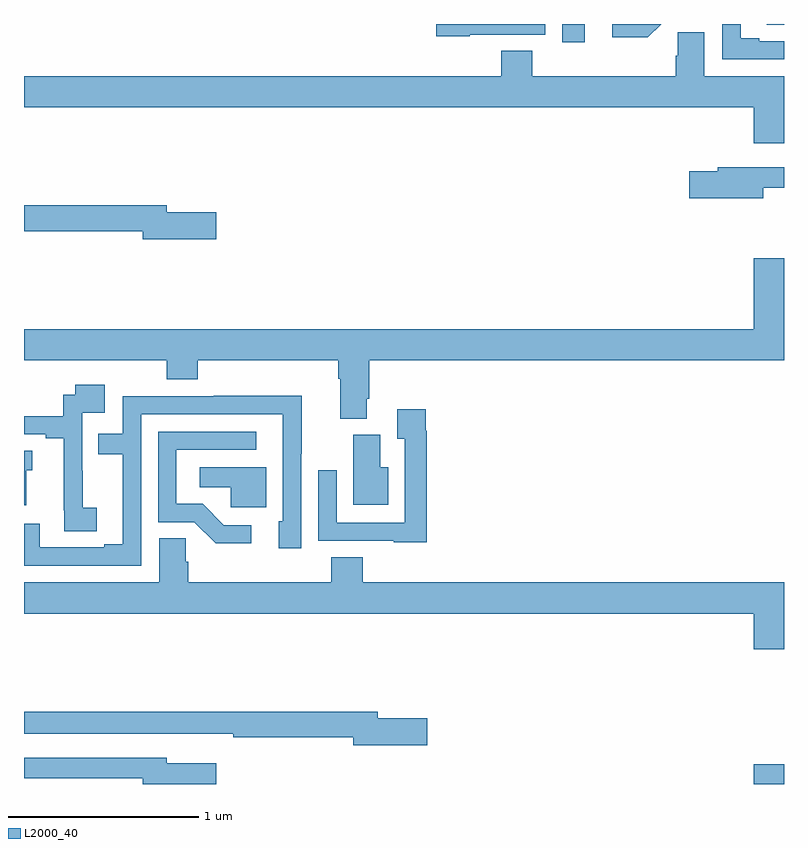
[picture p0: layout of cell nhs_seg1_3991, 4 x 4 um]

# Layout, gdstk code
import gdstk
lib = gdstk.Library(unit=1e-6, precision=1e-09)
def R(c, l, rs):  # rectangles x0, y0, x1, y1
    for r in rs: c.add(gdstk.rectangle(r[:2], r[2:], *l))
def P(c, l, *ps):  # polygons
    for p in ps: c.add(gdstk.Polygon(p, *l))
L2000_40 = (2000, 40)

nhs_seg1_3991 = lib.new_cell('nhs_seg1_3991')
R(nhs_seg1_3991, L2000_40, [(332.84,520.199,333,520.303), (331.833,524.103,331.951,524.199), (332.91,524.194,333,524.199)])
P(nhs_seg1_3991, L2000_40, [(331.347,524.142),(331.743,524.142),(331.743,524.199),(331.171,524.199),(331.171,524.135),(331.347,524.135)],
  [(333,524.109),(332.869,524.109),(332.869,524.124),(332.773,524.124),(332.773,524.199),(332.676,524.199),(332.676,524.013),(333,524.013)],
  [(332.355,524.199),(332.097,524.199),(332.097,524.129),(332.284,524.129)],
  [(333,523.924),(332.581,523.924),(332.581,524.156),(332.442,524.156),(332.442,524.033),(332.429,524.033),(332.429,523.924),(331.676,523.924),(331.676,524.057),(331.511,524.057),(331.511,523.924),(329,523.924),(329,523.76),(332.84,523.76),(332.84,523.572),(333,523.572)],
  [(332.89,523.338),(333,523.338),(333,523.446),(332.651,523.446),(332.651,523.425),(332.502,523.425),(332.502,523.283),(332.89,523.283)],
  [(330.013,523.208),(329.752,523.208),(329.752,523.244),(329,523.244),(329,523.108),(329.624,523.108),(329.624,523.066),(330.013,523.066)],
  [(330.805,522.226),(330.818,522.226),(330.818,522.428),(333,522.428),(333,522.967),(332.84,522.967),(332.84,522.592),(329,522.592),(329,522.428),(329.75,522.428),(329.75,522.329),(329.915,522.329),(329.915,522.428),(330.653,522.428),(330.653,522.332),(330.665,522.332),(330.665,522.121),(330.805,522.121)],
  [(329.383,521.652),(329.309,521.652),(329.309,521.849),(329.307,521.849),(329.307,522.153),(329.425,522.153),(329.425,522.301),(329.269,522.301),(329.269,522.249),(329.206,522.249),(329.206,522.135),(329,522.135),(329,522.039),(329.114,522.039),(329.114,522.019),(329.21,522.019),(329.21,521.641),(329.212,521.641),(329.212,521.53),(329.383,521.53)],
  [(329.616,522.144),(330.363,522.144),(330.363,521.583),(330.341,521.583),(330.341,521.439),(330.459,521.439),(330.459,521.938),(330.461,521.938),(330.461,522.242),(329.998,522.242),(329.998,522.24),(329.52,522.24),(329.52,522.042),(329.392,522.042),(329.392,521.934),(329.519,521.934),(329.519,521.46),(329.423,521.46),(329.423,521.445),(329.082,521.445),(329.082,521.568),(329,521.568),(329,521.349),(329.616,521.349)],
  [(331.121,522.059),(331.114,522.059),(331.114,522.172),(330.965,522.172),(330.965,522.016),(331.005,522.016),(331.005,521.574),(330.645,521.574),(330.645,521.851),(330.549,521.851),(330.549,521.478),(330.945,521.478),(330.945,521.471),(331.121,521.471)],
  [(330.196,521.562),(330.051,521.562),(329.94,521.673),(329.802,521.673),(329.802,521.958),(330.223,521.958),(330.223,522.054),(329.706,522.054),(329.706,521.577),(329.895,521.577),(330.008,521.465),(330.196,521.465)],
  [(330.916,521.866),(330.874,521.866),(330.874,522.036),(330.734,522.036),(330.734,521.669),(330.916,521.669)],
  [(329.011,521.851),(329.044,521.851),(329.044,521.954),(329,521.954),(329,521.667),(329.011,521.667)],
  [(330.274,521.866),(329.925,521.866),(329.925,521.762),(330.087,521.762),(330.087,521.655),(330.274,521.655)],
  [(333,521.26),(330.782,521.26),(330.782,521.393),(330.617,521.393),(330.617,521.26),(329.864,521.26),(329.864,521.369),(329.85,521.369),(329.85,521.492),(329.711,521.492),(329.711,521.26),(329,521.26),(329,521.096),(332.84,521.096),(332.84,520.908),(333,520.908)],
  [(331.123,520.544),(330.862,520.544),(330.862,520.58),(329,520.58),(329,520.464),(329.848,520.464),(329.848,520.463),(330.1,520.463),(330.1,520.444),(330.734,520.444),(330.734,520.402),(331.123,520.402)],
  [(330.013,520.309),(329.752,520.309),(329.752,520.338),(329,520.338),(329,520.23),(329.624,520.23),(329.624,520.199),(330.013,520.199)])

lib.write_gds('nhs_seg1_3991.gds')
